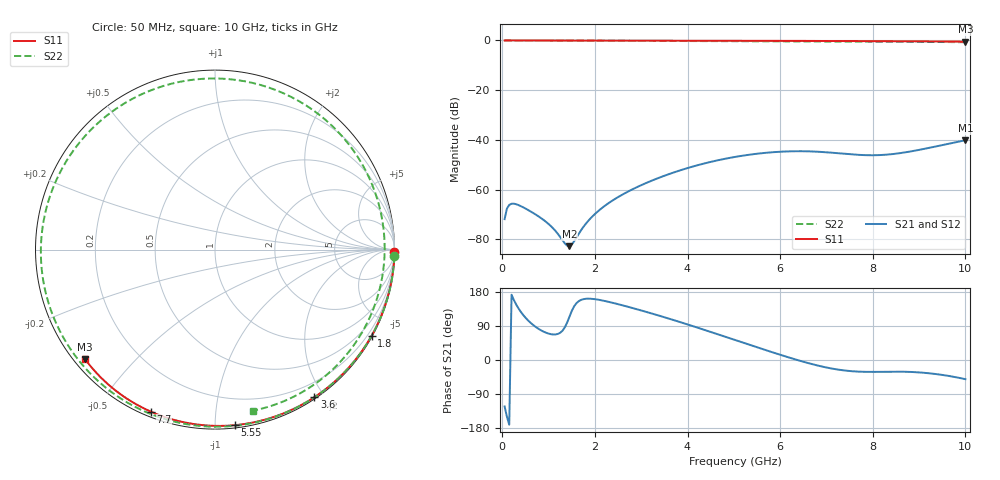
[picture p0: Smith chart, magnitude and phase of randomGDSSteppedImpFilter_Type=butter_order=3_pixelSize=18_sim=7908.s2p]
! freq	dB(S11)	phase(S11)	dB(S12)	phase(S12)
!  dB(S21)	phase(S21)	dB(S22)	phase(S22)
!S-par simulation data
#  GHz  S  DB  R 50
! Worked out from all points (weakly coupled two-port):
!   200 points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, 50 MHz to 10 GHz, reference 50 ohm
!   highest |S21| = -40.15 dB at 10 GHz (marker M1); lowest = -82.8 dB at 1.45 GHz (marker M2)
!   lowest |S11| = -0.5 dB at 10 GHz (marker M3), VSWR 36.68, Z = 1.55 - j18.3 ohm
!   |S11| at or under -10 dB: nowhere
!   |S22| runs from -0.7 to 0.0 dB; largest |S21 - S12| = 0
!   S11 on the Smith chart (normalised r, x): 50 MHz: open; 1.8 GHz: 0.03, -3.90; 3.6 GHz: 0.02, -1.88; 5.55 GHz: 0.02, -1.12; 7.7 GHz: 0.02, -0.68; 10 GHz: 0.03, -0.37
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0.05  -0.00 -0.8  -71.89 -122.6  -71.89 -122.6  -0.00 -1.9
0.15  -0.00 -2.4  -66.17 -170.9  -66.17 -170.9  -0.00 -5.8
0.3  -0.00 -4.9  -65.90 146.4  -65.90 146.4  -0.01 -11.7
0.9  -0.02 -14.5  -72.33 74.3  -72.33 74.3  -0.04 -34.8
1.3  -0.03 -20.9  -80.37 77.3  -80.37 77.3  -0.06 -50.0
1.45  -0.03 -23.2  -82.77 114.3  -82.77 114.3  -0.07 -55.7
1.6  -0.03 -25.6  -79.33 149.8  -79.33 149.8  -0.08 -61.4
1.75  -0.04 -28.0  -75.05 160.5  -75.05 160.5  -0.09 -67.1
1.8  -0.04 -28.7  -73.84 161.5  -73.84 161.5  -0.09 -69.0
2.6  -0.05 -41.1  -61.95 144.2  -61.95 144.2  -0.13 -99.3
3.4  -0.07 -53.1  -55.13 116.5  -55.13 116.5  -0.17 -130.1
3.6  -0.08 -56.1  -53.77 109.1  -53.77 109.1  -0.19 -138.1
4.35  -0.10 -67.0  -49.54 80.1  -49.54 80.1  -0.24 -169.2
5.05  -0.12 -76.8  -46.78 51.8  -46.78 51.8  -0.30 159.0
5.55  -0.14 -83.6  -45.47 31.6  -45.47 31.6  -0.35 134.2
6.15  -0.16 -91.6  -44.65 8.1  -44.65 8.1  -0.40 102.3
6.7  -0.19 -98.8  -44.67 -11.2  -44.67 -11.2  -0.43 71.6
7.25  -0.22 -105.9  -45.38 -25.3  -45.38 -25.3  -0.46 41.1
7.7  -0.26 -111.6  -46.03 -30.7  -46.03 -30.7  -0.47 17.3
8.35  -0.31 -119.6  -45.87 -30.9  -45.87 -30.9  -0.51 -14.1
9.15  -0.38 -129.5  -43.47 -34.2  -43.47 -34.2  -0.58 -47.2
10  -0.47 -139.8  -40.15 -50.6  -40.15 -50.6  -0.71 -76.8
